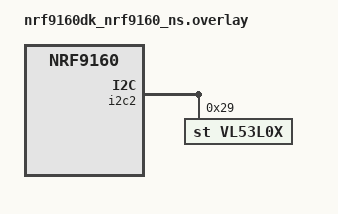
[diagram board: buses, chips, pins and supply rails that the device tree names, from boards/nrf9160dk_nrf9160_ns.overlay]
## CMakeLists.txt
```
cmake_minimum_required(VERSION 3.20.0)
find_package(Zephyr REQUIRED HINTS $ENV{ZEPHYR_BASE})
project(VL53L0X)

target_sources(app PRIVATE
    src/main.c
    src/i2c_scanner.c
    drivers/VL53L0X/VL53L0X.c
)

# Füge den neuen include-Pfad hinzu
target_include_directories(app PRIVATE
    ${CMAKE_CURRENT_SOURCE_DIR}/include
    ${CMAKE_CURRENT_SOURCE_DIR}/include/VL53L0X
)
```

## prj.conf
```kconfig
# Aktivieren des I2C-Treibers
CONFIG_I2C=y

# Log-Ausgabe aktivieren (optional, für Debugging)
CONFIG_LOG=y
CONFIG_LOG_DEFAULT_LEVEL=3
```

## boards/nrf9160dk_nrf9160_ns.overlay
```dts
&i2c2 {  // Ändere hier den richtigen I²C-Bus (z. B. i2c1, i2c2)
    status = "okay";  // Aktiviere den I²C-Bus

    vl53l0X: vl53l0x@29 {  // I²C-Adresse des VL53L0X-Sensors
        compatible = "st,vl53l0x";  // Kompatibilitätseintrag
        reg = <0x29>;  // I²C-Adresse (Standard 0x29)
    };
};
```

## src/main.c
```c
#include <zephyr/kernel.h>
#include <zephyr/device.h>
#include <zephyr/logging/log.h>
#include <zephyr/drivers/i2c.h>
#include <zephyr/drivers/sensor.h>
#include <stdio.h>

#include "i2c_scanner.h"
#include "VL53L0X.h"


LOG_MODULE_REGISTER(main, LOG_LEVEL_INF);

const struct device *sensor = DEVICE_DT_GET(DT_NODELABEL(i2c2));

int main(void) {
    struct sensor_value value;
	int ret;

    i2c_scan();

    LOG_INF("VL53L0X-Test beginnt...");
    while (1) {
		ret = sensor_sample_fetch(sensor);
		if (ret) {
			LOG_ERR("sensor_sample_fetch failed ret %d\n", ret);
			return -1;
		}

		ret = sensor_channel_get(sensor, SENSOR_CHAN_PROX, &value);
		LOG_INF("prox is %d\n", value.val1);

		ret = sensor_channel_get(sensor,
					 SENSOR_CHAN_DISTANCE,
					 &value);
		LOG_INF("distance is %.3fm\n", sensor_value_to_double(&value));

		k_sleep(K_MSEC(1000));
	}
	return 0;
}
```

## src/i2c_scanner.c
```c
#include <zephyr/kernel.h>
#include <zephyr/device.h>
#include <zephyr/drivers/i2c.h>
#include <zephyr/logging/log.h>

LOG_MODULE_REGISTER(I2C_scanner);

void i2c_scan(void) {
    const struct device *i2c_dev = DEVICE_DT_GET(DT_NODELABEL(i2c2)); // I²C2 wird verwendet
    if (!device_is_ready(i2c_dev)) {
        LOG_ERR("I2C device i2c2 not ready");
        return;
    }

    LOG_INF("Starting I2C scan on I2C2...");

    for (uint8_t addr = 0x03; addr <= 0x77; addr++) { // I²C-Adressenbereich
        uint8_t data = 0;  // Dummy-Daten
        int ret = i2c_read(i2c_dev, &data, 1, addr);

        if (ret == 0) {
            LOG_INF("I2C device found at address 0x%02X", addr);
        } else if (ret != -EIO) {  // Ignoriere "No ACK received"-Fehler
            LOG_WRN("Error 0x%02X at address: 0x%02X", ret, addr);
        }
    }

    LOG_INF("I2C scan completed.");
}
```
